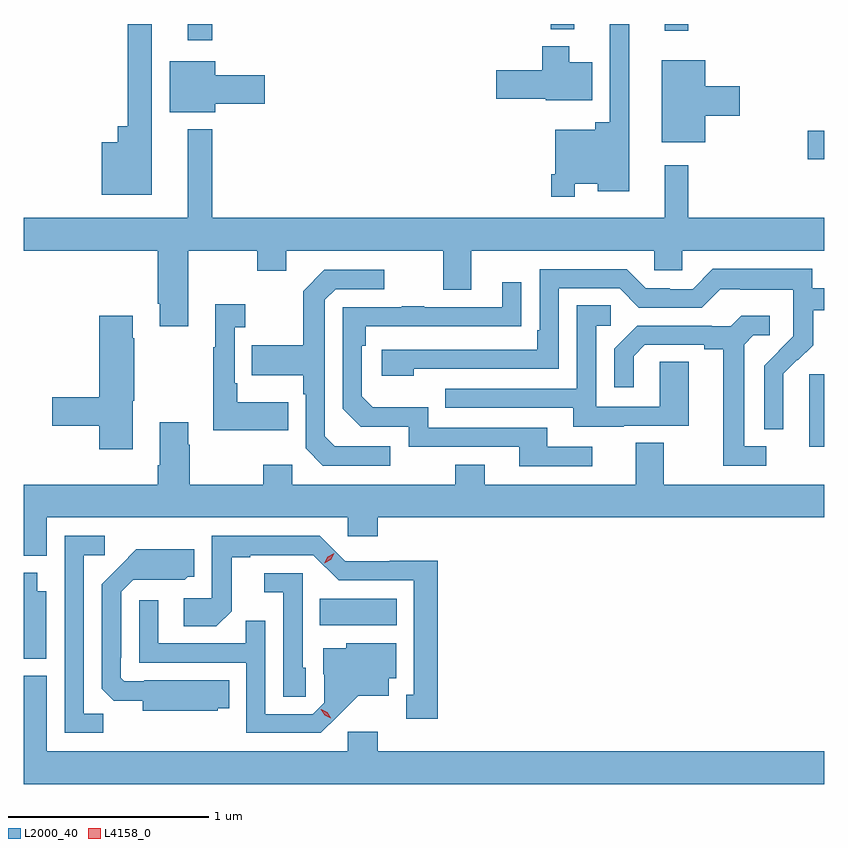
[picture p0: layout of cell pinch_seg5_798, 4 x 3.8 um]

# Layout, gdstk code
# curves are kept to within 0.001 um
import gdstk
lib = gdstk.Library(unit=1e-6, precision=1e-09)
def R(c, l, rs):  # rectangles x0, y0, x1, y1
    for r in rs: c.add(gdstk.rectangle(r[:2], r[2:], *l))
def P(c, l, *ps):  # polygons
    for p in ps: c.add(gdstk.Polygon(p, *l))
L2000_40 = (2000, 40)
L4158_0 = (4158, 0)

pinch_seg5_798 = lib.new_cell('pinch_seg5_798')
R(pinch_seg5_798, L2000_40, [(781.834,912.164,782.221,912.298), (784.28,913.058,784.356,913.419), (784.272,914.494,784.356,914.636), (781.175,915.087,781.297,915.169), (783.56,915.135,783.677,915.169), (782.989,915.143,783.107,915.169)])
P(pinch_seg5_798, L2000_40, [(780.997,915.169),(780.876,915.169),(780.876,914.659),(780.827,914.659),(780.827,914.578),(780.746,914.578),(780.746,914.315),(780.997,914.315)],
  [(783.108,914.372),(783.224,914.372),(783.224,914.333),(783.382,914.333),(783.382,915.169),(783.285,915.169),(783.285,914.677),(783.212,914.677),(783.212,914.641),(783.012,914.641),(783.012,914.419),(782.992,914.419),(782.992,914.307),(783.108,914.307)],
  [(783.196,914.977),(783.082,914.977),(783.082,915.058),(782.948,915.058),(782.948,914.937),(782.718,914.937),(782.718,914.795),(782.964,914.795),(782.964,914.789),(783.196,914.789)],
  [(783.76,914.711),(783.934,914.711),(783.934,914.858),(783.76,914.858),(783.76,914.989),(783.545,914.989),(783.545,914.579),(783.76,914.579)],
  [(781.312,914.771),(781.561,914.771),(781.561,914.913),(781.312,914.913),(781.312,914.983),(781.085,914.983),(781.085,914.729),(781.312,914.729)],
  [(781.177,914.036),(781.522,914.036),(781.522,913.937),(781.669,913.937),(781.669,914.036),(782.453,914.036),(782.453,913.842),(782.593,913.842),(782.593,914.036),(783.507,914.036),(783.507,913.938),(783.645,913.938),(783.645,914.036),(784.356,914.036),(784.356,914.2),(783.677,914.2),(783.677,914.464),(783.56,914.464),(783.56,914.2),(781.297,914.2),(781.297,914.644),(781.175,914.644),(781.175,914.2),(780.356,914.2),(780.356,914.036),(781.025,914.036),(781.025,913.771),(781.037,913.771),(781.037,913.659),(781.177,913.659)],
  [(784.152,913.298),(784.151,913.421),(784.221,913.491),(784.224,913.488),(784.301,913.565),(784.301,913.74),(784.356,913.74),(784.356,913.848),(784.296,913.848),(784.296,913.945),(783.799,913.945),(783.699,913.845),(783.584,913.845),(783.584,913.848),(783.465,913.848),(783.369,913.944),(782.934,913.944),(782.934,913.639),(782.921,913.639),(782.921,913.542),(782.145,913.542),(782.145,913.412),(782.306,913.412),(782.306,913.446),(783.03,913.446),(783.03,913.848),(783.333,913.848),(783.429,913.752),(783.744,913.752),(783.837,913.845),(783.937,913.845),(783.937,913.841),(784.2,913.841),(784.2,913.707),(784.202,913.707),(784.202,913.61),(784.056,913.462),(784.056,913.144),(784.152,913.144)],
  [(782.188,913.059),(781.911,913.059),(781.86,913.11),(781.86,913.791),(781.914,913.845),(782.158,913.845),(782.158,913.941),(781.857,913.941),(781.752,913.835),(781.752,913.563),(781.495,913.563),(781.495,913.415),(781.752,913.415),(781.752,913.319),(781.764,913.319),(781.764,913.05),(781.851,912.963),(782.188,912.963)],
  [(783.196,913.056),(782.971,913.056),(782.971,913.152),(782.376,913.152),(782.376,913.255),(782.099,913.255),(782.046,913.308),(782.046,913.562),(782.066,913.562),(782.066,913.659),(782.843,913.66),(782.843,913.879),(782.747,913.879),(782.747,913.755),(782.357,913.755),(782.357,913.76),(782.245,913.76),(782.245,913.755),(781.95,913.755),(781.95,913.248),(782.04,913.158),(782.28,913.158),(782.28,913.056),(782.831,913.056),(782.831,912.96),(783.196,912.96)],
  [(781.679,913.279),(781.423,913.279),(781.423,913.375),(781.41,913.375),(781.41,913.655),(781.462,913.655),(781.462,913.768),(781.313,913.768),(781.313,913.555),(781.302,913.555),(781.302,913.139),(781.679,913.139)],
  [(783.355,913.161),(783.679,913.161),(783.679,913.481),(783.534,913.481),(783.534,913.257),(783.216,913.257),(783.216,913.662),(783.289,913.662),(783.289,913.763),(783.12,913.763),(783.12,913.347),(782.461,913.347),(782.461,913.251),(783.101,913.251),(783.101,913.157),(783.355,913.157)],
  [(780.901,913.287),(780.909,913.287),(780.909,913.598),(780.901,913.598),(780.901,913.711),(780.734,913.711),(780.734,913.304),(780.498,913.304),(780.498,913.162),(780.734,913.162),(780.734,913.044),(780.901,913.044)],
  [(784.066,913.059),(783.955,913.059),(783.955,913.567),(784.002,913.614),(784.084,913.614),(784.084,913.711),(783.94,913.711),(783.888,913.659),(783.794,913.659),(783.794,913.662),(783.422,913.662),(783.306,913.546),(783.306,913.353),(783.403,913.353),(783.403,913.509),(783.46,913.566),(783.755,913.566),(783.755,913.544),(783.851,913.544),(783.851,912.963),(784.066,912.963)],
  [(780.472,912.704),(781.974,912.704),(781.974,912.611),(782.126,912.611),(782.126,912.704),(784.356,912.704),(784.356,912.868),(783.553,912.868),(783.553,913.076),(783.413,913.076),(783.413,912.868),(782.659,912.868),(782.659,912.967),(782.512,912.967),(782.512,912.868),(781.698,912.868),(781.698,912.967),(781.552,912.967),(781.552,912.868),(781.185,912.868),(781.185,913.067),(781.177,913.067),(781.177,913.18),(781.037,913.18),(781.037,912.964),(781.025,912.964),(781.025,912.868),(780.356,912.868),(780.356,912.512),(780.472,912.512)],
  [(782.425,912.488),(782.184,912.488),(782.184,912.486),(781.962,912.486),(781.836,912.612),(781.296,912.612),(781.296,912.3),(781.155,912.3),(781.155,912.16),(781.319,912.16),(781.395,912.236),(781.395,912.504),(781.489,912.504),(781.489,912.516),(781.803,912.516),(781.929,912.39),(782.306,912.39),(782.306,911.817),(782.267,911.817),(782.267,911.697),(782.425,911.697)],
  [(780.753,911.723),(780.657,911.723),(780.657,912.516),(780.76,912.516),(780.76,912.612),(780.561,912.612),(780.561,911.628),(780.753,911.628)],
  [(781.326,911.75),(781.382,911.75),(781.382,911.89),(780.958,911.89),(780.958,911.886),(780.858,911.886),(780.84,911.904),(780.84,912.004),(780.843,912.004),(780.843,912.333),(780.903,912.393),(781.16,912.392),(781.176,912.408),(781.207,912.408),(781.207,912.544),(780.919,912.544),(780.747,912.37),(780.747,911.848),(780.806,911.789),(780.95,911.789),(780.95,911.738),(781.326,911.738)],
  [(780.469,912.334),(780.424,912.334),(780.424,912.427),(780.356,912.427),(780.356,911.999),(780.469,911.999)],
  [(781.764,911.952),(781.749,911.952),(781.749,912.426),(781.557,912.426),(781.557,912.329),(781.653,912.329),(781.653,911.809),(781.764,911.809)],
  [(781.924,911.711),(782.027,911.813),(782.179,911.813),(782.179,911.9),(782.218,911.9),(782.218,912.076),(781.968,912.076),(781.968,912.049),(781.853,912.049),(781.853,911.92),(781.857,911.92),(781.857,911.778),(781.8,911.721),(781.563,911.721),(781.563,912.188),(781.465,912.188),(781.465,912.075),(781.029,912.075),(781.029,912.289),(780.933,912.289),(780.933,911.979),(781.467,911.979),(781.467,911.628),(781.84,911.628)],
  [(784.356,911.536),(782.126,911.536),(782.126,911.632),(781.974,911.632),(781.974,911.536),(780.472,911.536),(780.472,911.914),(780.356,911.914),(780.356,911.372),(784.356,911.372)])
P(pinch_seg5_798, L4158_0, [(781.858,912.474),(781.858,912.474),(781.876,912.507),(781.908,912.525),(781.908,912.525),(781.908,912.525),(781.89,912.493),(781.858,912.474)],
  [(781.89,911.701),(781.859,911.716),(781.841,911.746),(781.841,911.746),(781.842,911.746),(781.872,911.731),(781.89,911.702),(781.89,911.701)])

lib.write_gds('pinch_seg5_798.gds')
